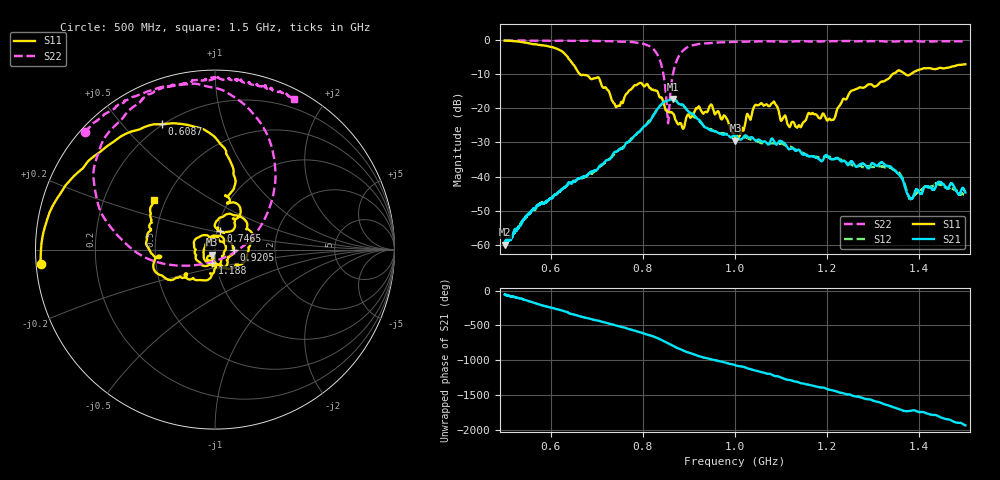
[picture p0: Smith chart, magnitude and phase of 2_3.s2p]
!Agilent Technologies,E8364B,US42250235,A.06.04.32
!Agilent E8364B: A.06.04.32
!Date: Thursday, October 01, 2020 14:33:15
!Correction: S11(Full 2 Port(1,2)) S21(Full 2 Port(1,2)) S12(Full 2 Port(1,2)) S22(Full 2 Port(1,2))
!S2P File: Measurements: S11, S21, S12, S22:
# Hz S  dB  R 50
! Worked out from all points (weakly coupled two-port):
!   2650 points, 500 MHz to 1.5 GHz, reference 50 ohm
!   highest |S21| = -17.29 dB at 865.4 MHz (marker M1); lowest = -59.9 dB at 501.5 MHz (marker M2)
!   lowest |S11| = -29.5 dB at 1.001 GHz (marker M3), VSWR 1.07, Z = 48.1 - j2.69 ohm
!   |S11| at or under -10 dB: 663.2 MHz to 1.342 GHz (679.1 MHz wide, 67.7 % of centre); 1.369 GHz to 1.382 GHz (12.8 MHz wide, 0.931 % of centre)
!   |S22| runs from -24.4 to -0.2 dB; largest |S21 - S12| = 0.017
!   S11 on the Smith chart (normalised r, x): 500 MHz: 0.01, -0.04; 608.7 MHz: 0.20, +0.64; 746.5 MHz: 1.04, +0.22; 920.5 MHz: 1.23, -0.00; 1.188 GHz: 0.96, -0.15; 1.5 GHz: 0.43, +0.30
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5e8  -0.22 -175.3  -59.17 -58.8  -59.98 -63.5  -0.21 138.0
5.0151e8  -0.22 -176.0  -59.88 -56.9  -59.31 -63.6  -0.21 137.8
6.087203e8  -2.40 113.0  -45.27 101.2  -45.22 97.5  -0.31 125.4
6.668554e8  -10.31 78.8  -40.30 -14.6  -40.55 -12.4  -0.28 121.0
7.465081e8  -19.26 73.7  -32.38 -149.0  -32.34 -140.6  -0.50 105.8
8.046433e8  -13.47 32.7  -25.16 99.0  -25.18 106.6  -1.30 83.5
8.337108e8  -15.78 -31.1  -19.88 33.1  -20.02 37.5  -4.84 54.3
8.540959e8  -20.99 -74.4  -17.77 -33.5  -17.79 -27.4  -23.85 -49.1
8.654209e8  -21.53 -122.6  -17.29 -71.0  -17.42 -65.7  -9.93 -166.8
8.86561e8  -25.95 110.5  -18.95 -135.3  -19.10 -129.9  -3.21 159.7
9.205361e8  -19.60 -0.9  -23.29 144.4  -23.63 150.0  -1.21 135.9
9.790487e8  -22.39 -121.1  -27.55 49.1  -27.54 52.5  -0.71 117.0
1.000189e9  -29.14 -128.4  -27.87 11.7  -27.78 16.2  -0.59 115.1
1.000944e9  -29.46 -123.9  -27.94 9.6  -27.80 14.6  -0.58 115.0
1.046999e9  -19.08 -135.5  -29.40 -69.4  -29.65 -66.7  -0.47 109.2
1.134957e9  -25.68 -18.5  -32.30 131.8  -32.25 137.3  -0.41 97.6
1.166667e9  -21.52 -86.8  -34.03 81.7  -34.05 88.0  -0.48 93.3
1.188184e9  -22.18 -102.1  -35.47 52.1  -34.24 56.7  -0.47 90.9
1.333522e9  -11.32 -144.0  -36.93 152.9  -37.31 165.7  -0.45 78.4
1.381465e9  -10.03 -171.3  -46.30 77.8  -46.61 85.9  -0.45 73.5
1.43809e9  -8.51 162.2  -42.09 10.4  -41.93 7.1  -0.42 67.5
1.5e9  -7.14 140.8  -44.64 -132.4  -45.74 -123.3  -0.47 62.4
